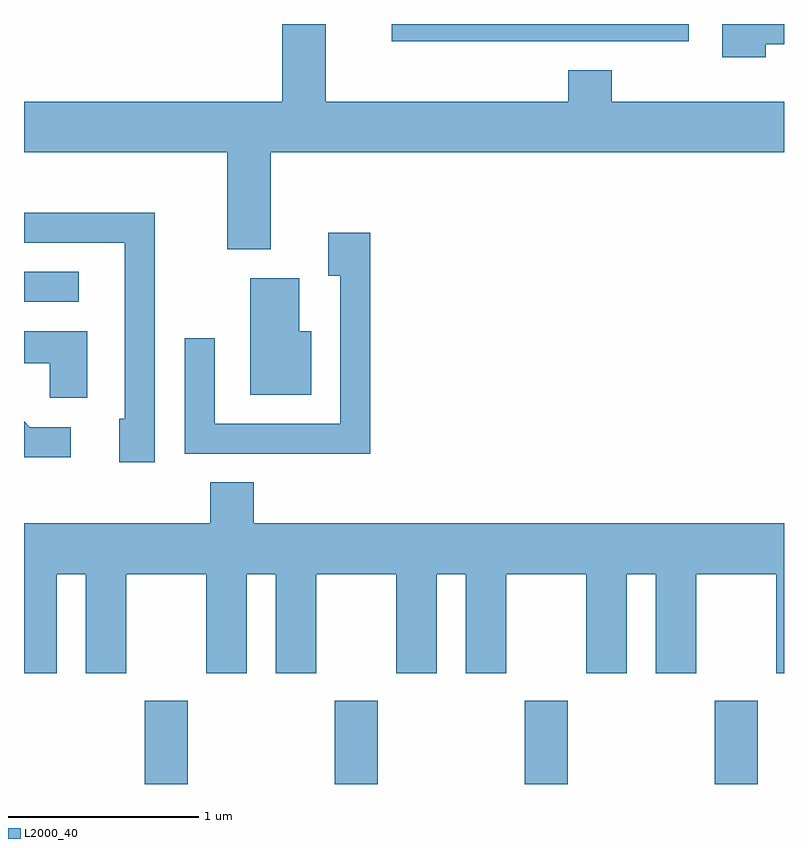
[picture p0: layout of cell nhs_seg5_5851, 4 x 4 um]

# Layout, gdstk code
import gdstk
lib = gdstk.Library(unit=1e-6, precision=1e-09)
def R(c, l, rs):  # rectangles x0, y0, x1, y1
    for r in rs: c.add(gdstk.rectangle(r[:2], r[2:], *l))
def A(c, l, x, y, w, h, nx, ny, dx, dy):  # array of equal rectangles
    R(c, l, [(x+i*dx, y+j*dy, x+i*dx+w, y+j*dy+h) for i in range(nx) for j in range(ny)])
def P(c, l, *ps):  # polygons
    for p in ps: c.add(gdstk.Polygon(p, *l))
L2000_40 = (2000, 40)

nhs_seg5_5851 = lib.new_cell('nhs_seg5_5851')
A(nhs_seg5_5851, L2000_40, 358.246, 1520.072, 0.228, 0.437, 4, 1, 1, 0)
R(nhs_seg5_5851, L2000_40, [(357.611,1522.611,357.898,1522.769), (359.546,1523.981,361.109,1524.072)])
P(nhs_seg5_5851, L2000_40, [(361.514,1523.966),(361.611,1523.966),(361.611,1524.072),(361.286,1524.072),(361.286,1523.896),(361.514,1523.896)],
  [(358.909,1523.396),(361.611,1523.396),(361.611,1523.664),(360.704,1523.664),(360.704,1523.829),(360.476,1523.829),(360.476,1523.664),(359.199,1523.664),(359.199,1524.072),(358.971,1524.072),(358.971,1523.664),(357.611,1523.664),(357.611,1523.396),(358.681,1523.396),(358.681,1522.886),(358.909,1522.886)],
  [(358.299,1523.079),(357.611,1523.079),(357.611,1522.921),(358.141,1522.921),(358.141,1521.994),(358.111,1521.994),(358.111,1521.766),(358.299,1521.766)],
  [(359.434,1522.974),(359.211,1522.974),(359.211,1522.746),(359.276,1522.746),(359.276,1521.969),(358.614,1521.969),(358.614,1522.418),(358.456,1522.418),(358.456,1521.811),(359.434,1521.811)],
  [(359.124,1522.454),(359.059,1522.454),(359.059,1522.734),(358.801,1522.734),(358.801,1522.121),(359.124,1522.121)],
  [(357.944,1522.454),(357.611,1522.454),(357.611,1522.286),(357.746,1522.286),(357.746,1522.106),(357.944,1522.106)],
  [(357.858,1521.949),(357.642,1521.949),(357.611,1521.98),(357.611,1521.791),(357.858,1521.791)],
  [(357.784,1521.176),(357.936,1521.176),(357.936,1520.656),(358.149,1520.656),(358.149,1521.176),(358.571,1521.176),(358.571,1520.656),(358.784,1520.656),(358.784,1521.176),(358.936,1521.176),(358.936,1520.656),(359.149,1520.656),(359.149,1521.176),(359.571,1521.176),(359.571,1520.656),(359.784,1520.656),(359.784,1521.176),(359.936,1521.176),(359.936,1520.656),(360.149,1520.656),(360.149,1521.176),(360.571,1521.176),(360.571,1520.656),(360.784,1520.656),(360.784,1521.176),(360.936,1521.176),(360.936,1520.656),(361.149,1520.656),(361.149,1521.176),(361.571,1521.176),(361.571,1520.656),(361.611,1520.656),(361.611,1521.444),(358.819,1521.444),(358.819,1521.659),(358.591,1521.659),(358.591,1521.444),(357.611,1521.444),(357.611,1520.656),(357.784,1520.656)])

lib.write_gds('nhs_seg5_5851.gds')
